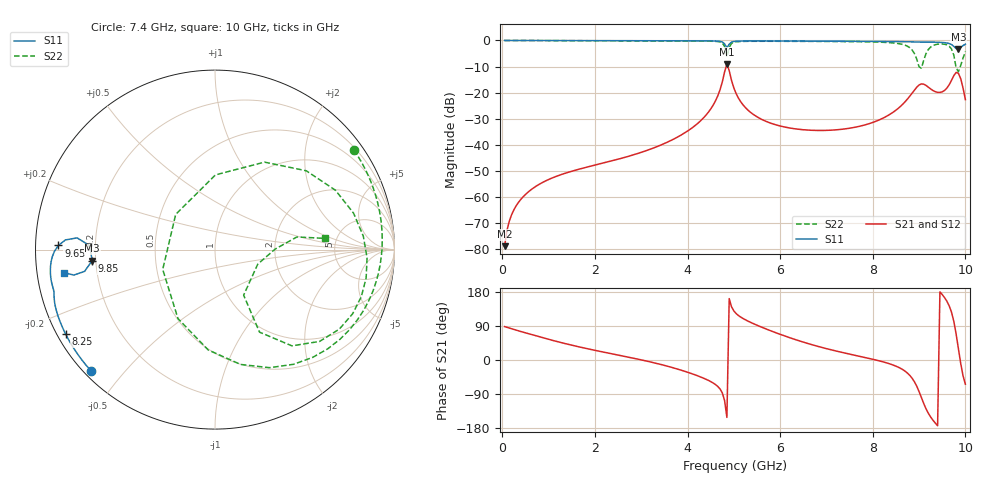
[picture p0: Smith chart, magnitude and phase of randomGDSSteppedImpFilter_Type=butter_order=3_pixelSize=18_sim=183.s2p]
! freq	dB(S11)	phase(S11)	dB(S12)	phase(S12)
!  dB(S21)	phase(S21)	dB(S22)	phase(S22)
!S-par simulation data
#  GHz  S  DB  R 50
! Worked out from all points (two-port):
!   200 points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, 50 MHz to 10 GHz, reference 50 ohm
!   highest |S21| = -9.07 dB at 4.85 GHz (marker M1); lowest = -78.9 dB at 50 MHz (marker M2)
!   |S21| within 3 dB of the highest: 4.8 GHz to 4.907 GHz (106.3 MHz wide, 2.19 % of centre)
!   lowest |S11| = -3.3 dB at 9.85 GHz (marker M3), VSWR 5.40, Z = 9.28 - j2.18 ohm
!   |S11| at or under -10 dB: nowhere
!   |S22| runs from -12.0 to 0.0 dB; largest |S21 - S12| = 0
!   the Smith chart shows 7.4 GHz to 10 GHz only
!   S11 on the Smith chart (normalised r, x): 7.4 GHz: 0.02, -0.41; 8.25 GHz: 0.02, -0.26; 9.65 GHz: 0.07, +0.01; 9.85 GHz: 0.19, -0.04; 10 GHz: 0.08, -0.08
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0.05  -0.00 -1.0  -78.88 88.1  -78.88 88.1  -0.00 -2.7
0.2  -0.01 -4.1  -66.87 82.5  -66.87 82.5  -0.02 -10.6
0.5  -0.01 -10.3  -59.06 71.7  -59.06 71.7  -0.04 -26.2
1.75  -0.04 -35.4  -48.92 32.1  -48.92 32.1  -0.10 -87.8
3.4  -0.09 -67.3  -40.28 -11.0  -40.28 -11.0  -0.17 -158.6
4.4  -0.14 -86.6  -28.60 -50.9  -28.60 -50.9  -0.25 159.4
4.75  -0.57 -97.6  -15.98 -86.6  -15.98 -86.6  -0.94 135.7
4.85  -2.81 -93.8  -9.07 -151.5  -9.07 -151.5  -6.27 141.2
4.9  -1.43 -84.9  -11.57 162.0  -11.57 162.0  -2.65 161.4
5.05  -0.29 -92.3  -20.39 122.5  -20.39 122.5  -0.51 144.0
5.65  -0.19 -105.5  -30.68 84.1  -30.68 84.1  -0.31 113.9
6.7  -0.25 -123.8  -34.46 39.9  -34.46 39.9  -0.36 67.6
7.4  -0.30 -135.7  -33.91 18.2  -33.91 18.2  -0.43 35.7
8.25  -0.39 -150.5  -29.53 -5.8  -29.53 -5.8  -0.72 -8.3
8.35  -0.41 -152.3  -28.55 -9.5  -28.55 -9.5  -0.82 -14.9
8.8  -0.51 -160.9  -21.35 -40.7  -21.35 -40.7  -2.79 -65.2
9  -0.63 -164.6  -17.07 -83.4  -17.07 -83.4  -10.13 -159.2
9.15  -0.65 -167.1  -17.24 -128.7  -17.24 -128.7  -5.03 60.5
9.35  -0.66 -171.6  -19.63 -166.4  -19.63 -166.4  -1.62 5.2
9.65  -1.18 178.5  -16.98 143.0  -16.98 143.0  -2.21 -41.3
9.85  -3.25 -174.8  -12.59 28.8  -12.59 28.8  -11.98 -18.7
10  -1.42 -171.2  -22.68 -63.8  -22.68 -63.8  -4.24 5.9
